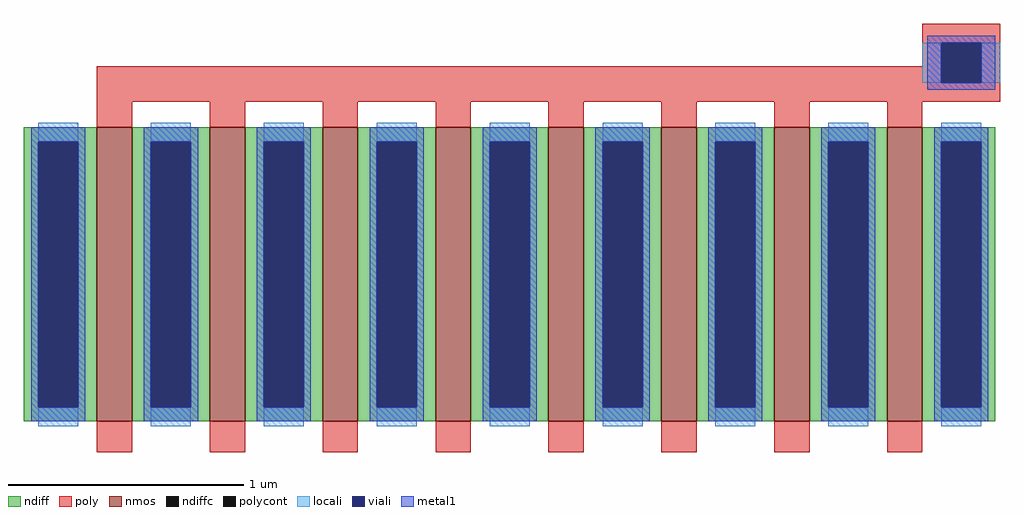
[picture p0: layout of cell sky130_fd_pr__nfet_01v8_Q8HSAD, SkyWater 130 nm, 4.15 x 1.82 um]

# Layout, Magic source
magic
tech sky130A
magscale 1 2
<< nmos >>
rect -351 -125 -321 125
rect -255 -125 -225 125
rect -159 -125 -129 125
rect -63 -125 -33 125
rect 33 -125 63 125
rect 129 -125 159 125
rect 225 -125 255 125
rect 321 -125 351 125
<< ndiff >>
rect -413 113 -351 125
rect -413 -113 -401 113
rect -367 -113 -351 113
rect -413 -125 -351 -113
rect -321 113 -255 125
rect -321 -113 -305 113
rect -271 -113 -255 113
rect -321 -125 -255 -113
rect -225 113 -159 125
rect -225 -113 -209 113
rect -175 -113 -159 113
rect -225 -125 -159 -113
rect -129 113 -63 125
rect -129 -113 -113 113
rect -79 -113 -63 113
rect -129 -125 -63 -113
rect -33 113 33 125
rect -33 -113 -17 113
rect 17 -113 33 113
rect -33 -125 33 -113
rect 63 113 129 125
rect 63 -113 79 113
rect 113 -113 129 113
rect 63 -125 129 -113
rect 159 113 225 125
rect 159 -113 175 113
rect 209 -113 225 113
rect 159 -125 225 -113
rect 255 113 321 125
rect 255 -113 271 113
rect 305 -113 321 113
rect 255 -125 321 -113
rect 351 113 413 125
rect 351 -113 367 113
rect 401 -113 413 113
rect 351 -125 413 -113
<< ndiffc >>
rect -401 -113 -367 113
rect -305 -113 -271 113
rect -209 -113 -175 113
rect -113 -113 -79 113
rect -17 -113 17 113
rect 79 -113 113 113
rect 175 -113 209 113
rect 271 -113 305 113
rect 367 -113 401 113
<< poly >>
rect 351 197 417 213
rect 351 177 367 197
rect -351 163 367 177
rect 401 163 417 197
rect -351 147 417 163
rect -351 125 -321 147
rect -255 125 -225 147
rect -159 125 -129 147
rect -63 125 -33 147
rect 33 125 63 147
rect 129 125 159 147
rect 225 125 255 147
rect 321 125 351 147
rect -351 -151 -321 -125
rect -255 -151 -225 -125
rect -159 -151 -129 -125
rect -63 -151 -33 -125
rect 33 -151 63 -125
rect 129 -151 159 -125
rect 225 -151 255 -125
rect 321 -151 351 -125
<< polycont >>
rect 367 163 401 197
<< locali >>
rect 351 163 367 197
rect 401 163 417 197
rect -401 113 -367 129
rect -401 -129 -367 -113
rect -305 113 -271 129
rect -305 -129 -271 -113
rect -209 113 -175 129
rect -209 -129 -175 -113
rect -113 113 -79 129
rect -113 -129 -79 -113
rect -17 113 17 129
rect -17 -129 17 -113
rect 79 113 113 129
rect 79 -129 113 -113
rect 175 113 209 129
rect 175 -129 209 -113
rect 271 113 305 129
rect 271 -129 305 -113
rect 367 113 401 129
rect 367 -129 401 -113
<< viali >>
rect 367 163 401 197
rect -401 -113 -367 113
rect -305 -113 -271 113
rect -209 -113 -175 113
rect -113 -113 -79 113
rect -17 -113 17 113
rect 79 -113 113 113
rect 175 -113 209 113
rect 271 -113 305 113
rect 367 -113 401 113
<< metal1 >>
rect 355 197 413 203
rect 355 163 367 197
rect 401 163 413 197
rect 355 157 413 163
rect -407 113 -361 125
rect -407 -113 -401 113
rect -367 -113 -361 113
rect -407 -125 -361 -113
rect -311 113 -265 125
rect -311 -113 -305 113
rect -271 -113 -265 113
rect -311 -125 -265 -113
rect -215 113 -169 125
rect -215 -113 -209 113
rect -175 -113 -169 113
rect -215 -125 -169 -113
rect -119 113 -73 125
rect -119 -113 -113 113
rect -79 -113 -73 113
rect -119 -125 -73 -113
rect -23 113 23 125
rect -23 -113 -17 113
rect 17 -113 23 113
rect -23 -125 23 -113
rect 73 113 119 125
rect 73 -113 79 113
rect 113 -113 119 113
rect 73 -125 119 -113
rect 169 113 215 125
rect 169 -113 175 113
rect 209 -113 215 113
rect 169 -125 215 -113
rect 265 113 311 125
rect 265 -113 271 113
rect 305 -113 311 113
rect 265 -125 311 -113
rect 361 113 407 125
rect 361 -113 367 113
rect 401 -113 407 113
rect 361 -125 407 -113
<< properties >>
string FIXED_BBOX -498 -282 498 282
string gencell sky130_fd_pr__nfet_01v8
string library sky130
string parameters w 1.25 l 0.15 m 1 nf 8 diffcov 100 polycov 100 guard 1 glc 1 grc 1 gtc 1 gbc 1 tbcov 100 rlcov 100 topc 1 botc 1 poverlap 0 doverlap 1 lmin 0.15 wmin 0.42 compatible {sky130_fd_pr__nfet_01v8 sky130_fd_pr__nfet_01v8_lvt  sky130_fd_bs_flash__special_sonosfet_star  sky130_fd_pr__nfet_g5v0d10v5 sky130_fd_pr__nfet_05v0_nvt  sky130_fd_pr__nfet_03v3_nvt} full_metal 1 viasrc 100 viadrn 100 viagate 100 viagb 0 viagr 0 viagl 0 viagt 0
<< end >>
